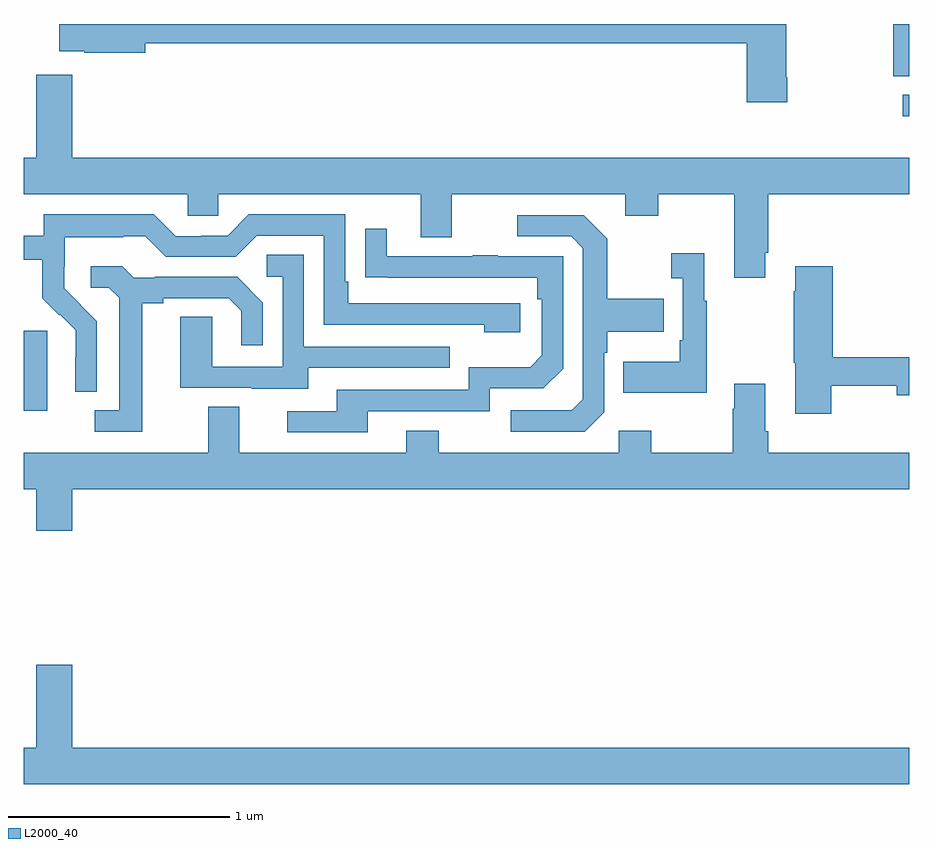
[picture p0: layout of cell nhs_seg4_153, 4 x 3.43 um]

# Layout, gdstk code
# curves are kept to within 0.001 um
import gdstk
lib = gdstk.Library(unit=1e-6, precision=1e-09)
def R(c, l, rs):  # rectangles x0, y0, x1, y1
    for r in rs: c.add(gdstk.rectangle(r[:2], r[2:], *l))
def P(c, l, *ps):  # polygons
    for p in ps: c.add(gdstk.Polygon(p, *l))
L2000_40 = (2000, 40)

nhs_seg4_153 = lib.new_cell('nhs_seg4_153')
R(nhs_seg4_153, L2000_40, [(117,817.154,117.106,817.515), (120.969,818.484,121,818.58), (120.928,818.665,121,818.9)])
P(nhs_seg4_153, L2000_40, [(120.449,818.659),(120.444,818.659),(120.444,818.9),(117.162,818.9),(117.162,818.777),(117.274,818.777),(117.274,818.77),(117.55,818.77),(117.55,818.812),(120.266,818.812),(120.266,818.547),(120.449,818.547)],
  [(120.349,817.867),(120.362,817.867),(120.362,818.132),(121,818.132),(121,818.296),(117.22,818.296),(117.22,818.671),(117.056,818.671),(117.056,818.296),(117,818.296),(117,818.132),(117.741,818.132),(117.741,818.034),(117.879,818.034),(117.879,818.132),(118.793,818.132),(118.793,817.938),(118.933,817.938),(118.933,818.132),(119.717,818.132),(119.717,818.033),(119.865,818.033),(119.865,818.132),(120.209,818.132),(120.209,817.755),(120.349,817.755)],
  [(117.33,817.558),(117.184,817.706),(117.184,817.803),(117.186,817.803),(117.186,817.937),(117.449,817.937),(117.449,817.941),(117.549,817.941),(117.642,817.848),(117.957,817.848),(118.053,817.944),(118.356,817.944),(118.356,817.542),(119.081,817.542),(119.081,817.508),(119.242,817.508),(119.242,817.638),(118.465,817.638),(118.465,817.735),(118.452,817.735),(118.452,818.04),(118.017,818.04),(117.921,817.944),(117.803,817.944),(117.803,817.941),(117.687,817.941),(117.587,818.041),(117.09,818.041),(117.09,817.944),(117,817.944),(117,817.836),(117.085,817.836),(117.085,817.661),(117.162,817.584),(117.165,817.587),(117.236,817.517),(117.236,817.394),(117.234,817.394),(117.234,817.24),(117.33,817.24)],
  [(119.622,817.146),(119.622,817.415),(119.635,817.415),(119.635,817.511),(119.891,817.511),(119.891,817.659),(119.635,817.659),(119.635,817.931),(119.529,818.037),(119.229,818.037),(119.229,817.941),(119.472,817.941),(119.526,817.887),(119.526,817.206),(119.475,817.155),(119.199,817.155),(119.199,817.059),(119.535,817.059)],
  [(118.555,817.152),(119.106,817.152),(119.106,817.254),(119.346,817.254),(119.436,817.344),(119.436,817.851),(119.141,817.851),(119.141,817.856),(119.029,817.856),(119.029,817.851),(118.639,817.851),(118.639,817.975),(118.543,817.975),(118.543,817.756),(119.32,817.755),(119.32,817.658),(119.34,817.658),(119.34,817.404),(119.287,817.351),(119.01,817.351),(119.01,817.248),(118.415,817.248),(118.415,817.152),(118.191,817.152),(118.191,817.056),(118.555,817.056)],
  [(120.085,817.651),(120.073,817.651),(120.073,817.864),(119.925,817.864),(119.925,817.751),(119.976,817.751),(119.976,817.471),(119.964,817.471),(119.964,817.375),(119.707,817.375),(119.707,817.235),(120.085,817.235)],
  [(118.285,817.347),(118.925,817.347),(118.925,817.443),(118.266,817.443),(118.266,817.859),(118.098,817.859),(118.098,817.758),(118.17,817.758),(118.17,817.353),(117.852,817.353),(117.852,817.577),(117.707,817.577),(117.707,817.257),(118.031,817.257),(118.031,817.253),(118.285,817.253)],
  [(117.535,817.64),(117.631,817.64),(117.631,817.662),(117.926,817.662),(117.983,817.605),(117.983,817.449),(118.08,817.449),(118.08,817.642),(117.964,817.758),(117.592,817.758),(117.592,817.755),(117.498,817.755),(117.446,817.807),(117.303,817.807),(117.303,817.71),(117.384,817.71),(117.431,817.663),(117.431,817.155),(117.321,817.155),(117.321,817.059),(117.535,817.059)],
  [(120.648,817.266),(120.944,817.266),(120.944,817.223),(121,817.223),(121,817.394),(120.653,817.394),(120.653,817.807),(120.485,817.807),(120.485,817.694),(120.478,817.694),(120.478,817.371),(120.485,817.371),(120.485,817.14),(120.648,817.14)],
  [(117.22,816.8),(121,816.8),(121,816.964),(120.362,816.964),(120.362,817.06),(120.349,817.06),(120.349,817.276),(120.209,817.276),(120.209,817.163),(120.202,817.163),(120.202,816.964),(119.835,816.964),(119.835,817.063),(119.688,817.063),(119.688,816.964),(118.875,816.964),(118.875,817.063),(118.727,817.063),(118.727,816.964),(117.973,816.964),(117.973,817.172),(117.833,817.172),(117.833,816.964),(117,816.964),(117,816.8),(117.056,816.8),(117.056,816.612),(117.22,816.612)],
  [(121,815.632),(117.22,815.632),(117.22,816.007),(117.056,816.007),(117.056,815.632),(117,815.632),(117,815.468),(121,815.468)])

lib.write_gds('nhs_seg4_153.gds')
